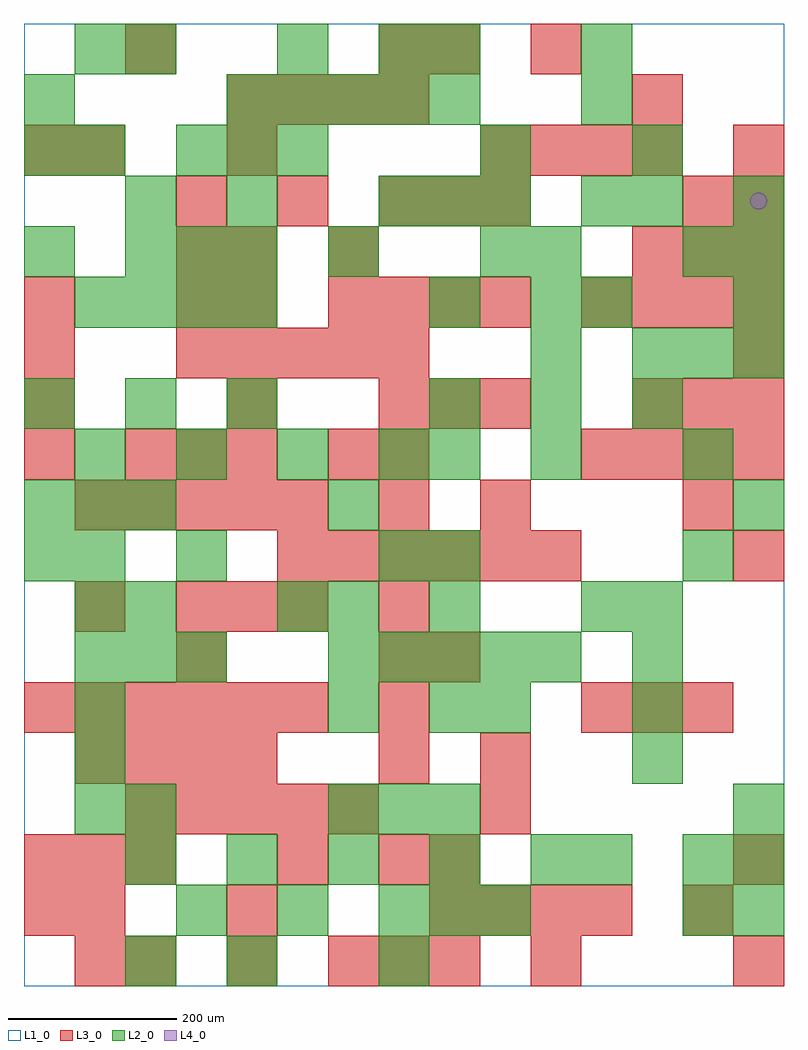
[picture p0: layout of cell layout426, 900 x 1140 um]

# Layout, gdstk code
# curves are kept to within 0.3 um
import gdstk
lib = gdstk.Library(unit=1e-6, precision=1e-09)
def R(c, l, rs):  # rectangles x0, y0, x1, y1
    for r in rs: c.add(gdstk.rectangle(r[:2], r[2:], *l))
def A(c, l, x, y, w, h, nx, ny, dx, dy):  # array of equal rectangles
    R(c, l, [(x+i*dx, y+j*dy, x+i*dx+w, y+j*dy+h) for i in range(nx) for j in range(ny)])
def P(c, l, *ps):  # polygons
    for p in ps: c.add(gdstk.Polygon(p, *l))
L1_0 = (1, 0)
L2_0 = (2, 0)
L3_0 = (3, 0)
L4_0 = (4, 0)

layout426 = lib.new_cell('layout426')
R(layout426, L1_0, [(0,0,900,1140)])
A(layout426, L2_0, 180, 60, 60, 60, 3, 1, 120, 0)
A(layout426, L2_0, 840, 60, 60, 60, 1, 3, 0, 60)
A(layout426, L2_0, 120, 120, 60, 60, 5, 1, 120, 0)
A(layout426, L2_0, 60, 180, 60, 60, 1, 3, 0, 60)
A(layout426, L2_0, 360, 180, 60, 60, 3, 1, 60, 0)
A(layout426, L2_0, 720, 240, 60, 60, 1, 4, 0, 60)
A(layout426, L2_0, 360, 300, 60, 60, 1, 3, 0, 120)
A(layout426, L2_0, 60, 360, 60, 60, 3, 1, 60, 0)
A(layout426, L2_0, 360, 360, 60, 60, 5, 1, 60, 0)
A(layout426, L2_0, 0, 540, 60, 60, 3, 1, 60, 0)
A(layout426, L2_0, 60, 600, 60, 60, 4, 1, 120, 0)
A(layout426, L2_0, 0, 660, 60, 60, 3, 1, 120, 0)
A(layout426, L2_0, 480, 660, 60, 60, 3, 1, 120, 0)
A(layout426, L2_0, 600, 720, 60, 60, 1, 3, 0, 60)
A(layout426, L2_0, 720, 720, 60, 60, 3, 1, 60, 0)
A(layout426, L2_0, 60, 780, 60, 60, 4, 1, 60, 0)
A(layout426, L2_0, 660, 780, 60, 60, 1, 3, 0, 120)
A(layout426, L2_0, 840, 780, 60, 60, 1, 3, 0, 60)
A(layout426, L2_0, 120, 840, 60, 60, 3, 1, 60, 0)
A(layout426, L2_0, 420, 900, 60, 60, 3, 1, 60, 0)
A(layout426, L2_0, 180, 960, 60, 60, 3, 1, 60, 0)
A(layout426, L2_0, 240, 1020, 60, 60, 5, 1, 60, 0)
R(layout426, L2_0, [(120,0,180,60), (240,0,300,60), (420,0,480,60), (480,60,540,120), (540,60,600,120), (780,60,840,120), (660,120,720,180), (780,120,840,180), (120,180,180,240), (480,300,540,360), (540,300,600,360), (60,420,120,480), (120,420,180,480), (300,420,360,480), (480,420,540,480), (660,420,720,480), (0,480,60,540), (60,480,120,540), (180,480,240,540), (420,480,480,540), (480,480,540,540), (780,480,840,540), (840,540,900,600), (480,600,540,660), (600,600,660,660), (780,600,840,660), (480,780,540,840), (0,840,60,900), (360,840,420,900), (540,840,600,900), (780,840,840,900), (120,900,180,960), (240,900,300,960), (720,900,780,960), (0,960,60,1020), (60,960,120,1020), (540,960,600,1020), (720,960,780,1020), (0,1020,60,1080), (60,1080,120,1140), (120,1080,180,1140), (300,1080,360,1140), (420,1080,480,1140), (480,1080,540,1140), (660,1080,720,1140)])
A(layout426, L3_0, 120, 0, 60, 60, 3, 1, 120, 0)
A(layout426, L3_0, 420, 0, 60, 60, 1, 3, 0, 120)
A(layout426, L3_0, 480, 60, 60, 60, 4, 1, 60, 0)
A(layout426, L3_0, 0, 120, 60, 60, 3, 1, 60, 0)
A(layout426, L3_0, 120, 180, 60, 60, 5, 1, 60, 0)
A(layout426, L3_0, 60, 240, 60, 60, 4, 1, 60, 0)
A(layout426, L3_0, 0, 300, 60, 60, 6, 1, 60, 0)
A(layout426, L3_0, 420, 300, 60, 60, 1, 3, 0, 60)
A(layout426, L3_0, 660, 300, 60, 60, 3, 1, 60, 0)
A(layout426, L3_0, 180, 420, 60, 60, 3, 1, 60, 0)
A(layout426, L3_0, 300, 480, 60, 60, 6, 1, 60, 0)
A(layout426, L3_0, 60, 540, 60, 60, 5, 1, 60, 0)
A(layout426, L3_0, 0, 600, 60, 60, 1, 4, 0, 60)
A(layout426, L3_0, 120, 600, 60, 60, 3, 1, 60, 0)
A(layout426, L3_0, 660, 600, 60, 60, 4, 2, 60, 180)
A(layout426, L3_0, 420, 660, 60, 60, 3, 1, 60, 0)
A(layout426, L3_0, 720, 660, 60, 60, 3, 2, 60, 180)
A(layout426, L3_0, 180, 720, 60, 60, 5, 1, 60, 0)
A(layout426, L3_0, 360, 780, 60, 60, 4, 1, 60, 0)
A(layout426, L3_0, 180, 900, 60, 60, 3, 1, 120, 0)
A(layout426, L3_0, 540, 960, 60, 60, 4, 1, 60, 0)
A(layout426, L3_0, 240, 1020, 60, 60, 4, 1, 60, 0)
R(layout426, L3_0, [(60,0,120,60), (480,0,540,60), (600,0,660,60), (840,0,900,60), (0,60,60,120), (60,60,120,120), (240,60,300,120), (780,60,840,120), (300,120,360,180), (480,120,540,180), (840,120,900,180), (540,180,600,240), (540,240,600,300), (180,360,240,420), (480,360,540,420), (60,420,120,480), (840,480,900,540), (420,540,480,600), (540,540,600,600), (780,540,840,600), (360,600,420,660), (420,600,480,660), (240,660,300,720), (840,720,900,780), (180,780,240,840), (240,780,300,840), (180,840,240,900), (240,840,300,900), (360,840,420,900), (480,900,540,960), (540,900,600,960), (780,900,840,960), (840,900,900,960), (0,960,60,1020), (60,960,120,1020), (240,960,300,1020), (840,960,900,1020), (720,1020,780,1080), (120,1080,180,1140), (420,1080,480,1140), (480,1080,540,1140), (600,1080,660,1140)])
P(layout426, L4_0, [(880,930),(879.239,933.827),(877.071,937.071),(873.827,939.239),(870,940),(866.173,939.239),(862.929,937.071),(860.761,933.827),(860,930),(860.761,926.173),(862.929,922.929),(866.173,920.761),(870,920),(873.827,920.761),(877.071,922.929),(879.239,926.173)])

lib.write_gds('layout426.gds')
